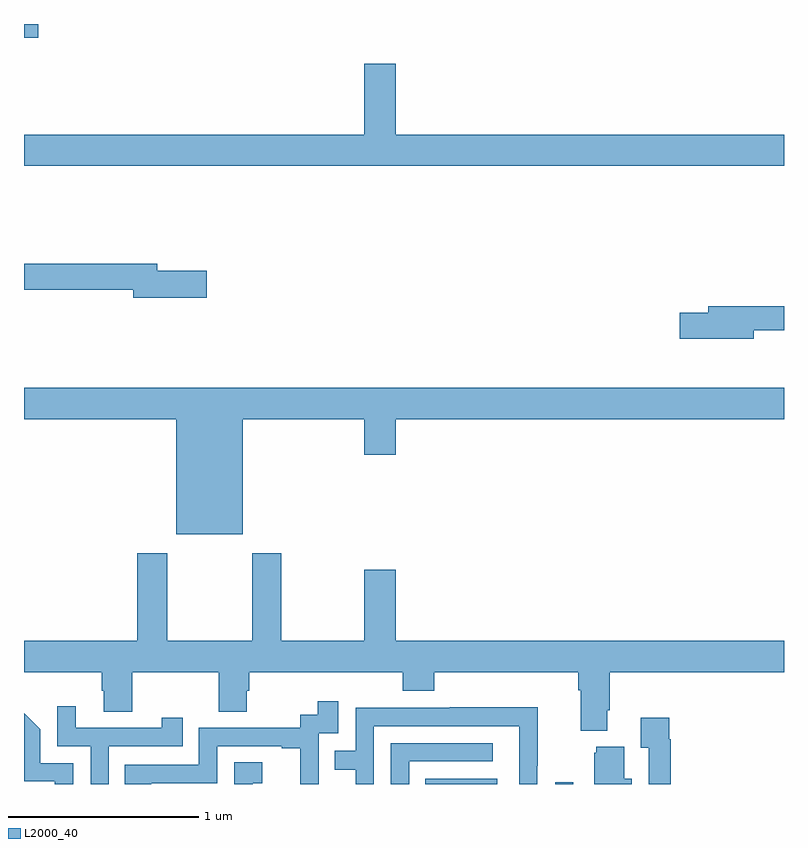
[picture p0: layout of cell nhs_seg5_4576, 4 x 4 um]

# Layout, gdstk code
import gdstk
lib = gdstk.Library(unit=1e-6, precision=1e-09)
def R(c, l, rs):  # rectangles x0, y0, x1, y1
    for r in rs: c.add(gdstk.rectangle(r[:2], r[2:], *l))
def P(c, l, *ps):  # polygons
    for p in ps: c.add(gdstk.Polygon(p, *l))
L2000_40 = (2000, 40)

nhs_seg5_4576 = lib.new_cell('nhs_seg5_4576')
R(nhs_seg5_4576, L2000_40, [(381.112,894.799,381.49,894.826), (381.795,894.799,381.891,894.808), (379,898.727,379.075,898.799)])
P(nhs_seg5_4576, L2000_40, [(383,898.216),(380.956,898.216),(380.956,898.591),(380.792,898.591),(380.792,898.216),(379,898.216),(379,898.052),(383,898.052)],
  [(379.963,897.5),(379.702,897.5),(379.702,897.536),(379,897.536),(379,897.4),(379.574,897.4),(379.574,897.358),(379.963,897.358)],
  [(382.84,897.186),(383,897.186),(383,897.314),(382.601,897.314),(382.601,897.278),(382.452,897.278),(382.452,897.143),(382.84,897.143)],
  [(380.152,896.72),(380.792,896.72),(380.792,896.532),(380.956,896.532),(380.956,896.72),(383,896.72),(383,896.884),(379,896.884),(379,896.72),(379.802,896.72),(379.802,896.114),(380.152,896.114)],
  [(382.069,895.186),(382.082,895.186),(382.082,895.388),(383,895.388),(383,895.552),(380.956,895.552),(380.956,895.927),(380.792,895.927),(380.792,895.552),(380.355,895.552),(380.355,896.014),(380.2,896.014),(380.2,895.552),(379.755,895.552),(379.755,896.014),(379.595,896.014),(379.595,895.552),(379,895.552),(379,895.388),(379.409,895.388),(379.409,895.29),(379.421,895.29),(379.421,895.18),(379.569,895.18),(379.569,895.388),(380.026,895.388),(380.026,895.18),(380.173,895.18),(380.173,895.29),(380.186,895.29),(380.186,895.388),(380.993,895.388),(380.993,895.289),(381.158,895.289),(381.158,895.388),(381.917,895.388),(381.917,895.292),(381.929,895.292),(381.929,895.079),(382.069,895.079)],
  [(379.671,894.804),(380.016,894.804),(380.016,894.999),(380.357,894.999),(380.357,894.987),(380.453,894.987),(380.453,894.799),(380.552,894.799),(380.552,894.836),(380.55,894.836),(380.55,895.065),(380.655,895.065),(380.655,895.234),(380.547,895.234),(380.547,895.164),(380.454,895.164),(380.454,895.095),(379.92,895.095),(379.92,894.9),(379.531,894.9),(379.531,894.799),(379.671,894.799)],
  [(379.446,894.999),(379.835,894.999),(379.835,895.147),(379.724,895.147),(379.724,895.095),(379.273,895.095),(379.273,895.207),(379.176,895.207),(379.176,894.999),(379.35,894.999),(379.35,894.799),(379.446,894.799)],
  [(380.841,895.104),(381.606,895.104),(381.606,894.799),(381.702,894.799),(381.702,894.895),(381.705,894.895),(381.705,895.202),(381.241,895.202),(381.241,895.2),(380.745,895.2),(380.745,894.975),(380.635,894.975),(380.635,894.874),(380.745,894.874),(380.745,894.799),(380.841,894.799)],
  [(379.26,894.909),(379.086,894.909),(379.086,895.086),(379,895.172),(379,894.813),(379.163,894.813),(379.163,894.799),(379.26,894.799)],
  [(382.403,895.034),(382.396,895.034),(382.396,895.147),(382.247,895.147),(382.247,894.991),(382.287,894.991),(382.287,894.799),(382.403,894.799)],
  [(381.027,894.918),(381.466,894.918),(381.466,895.014),(380.931,895.014),(380.931,894.799),(381.027,894.799)],
  [(382.198,894.826),(382.159,894.826),(382.159,894.994),(382.013,894.994),(382.013,894.963),(382.001,894.963),(382.001,894.799),(382.198,894.799)],
  [(380.205,894.803),(380.254,894.803),(380.254,894.913),(380.106,894.913),(380.106,894.799),(380.205,894.799)])

lib.write_gds('nhs_seg5_4576.gds')
